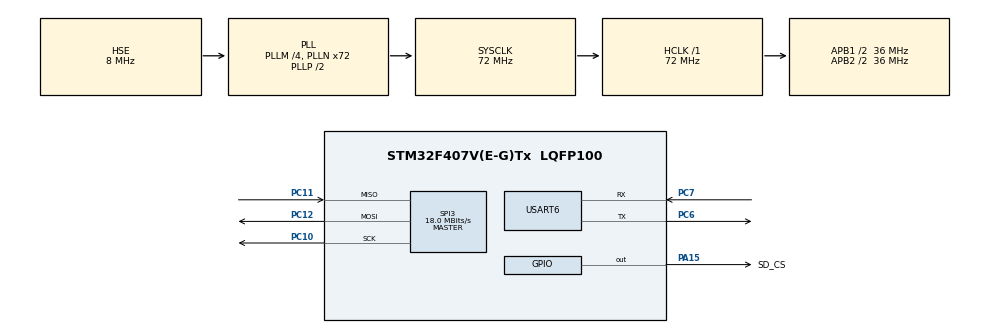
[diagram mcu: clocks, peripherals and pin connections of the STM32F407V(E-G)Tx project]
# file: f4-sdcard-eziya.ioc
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Mcu.Family=STM32F4
RCC.PLLSourceVirtual=RCC_PLLSOURCE_HSE
PH0-OSC_IN.Signal=RCC_OSC_IN
RCC.CortexFreq_Value=72000000
SPI3.Direction=SPI_DIRECTION_2LINES
SPI3.VirtualType=VM_MASTER
FATFS._USE_LFN=1
PC12.Signal=SPI3_MOSI
PC11.Signal=SPI3_MISO
PC10.Signal=SPI3_SCK
PC6.Signal=USART6_TX
PC10.Mode=Full_Duplex_Master
RCC.APB1CLKDivider=RCC_HCLK_DIV2
RCC.SYSCLKSource=RCC_SYSCLKSOURCE_PLLCLK
ProjectManager.StackSize=0x400
PA13.Signal=SYS_JTMS-SWDIO
PA15.GPIO_Label=SD_CS
ProjectManager.TargetToolchain=STM32CubeIDE
PC6.Mode=Asynchronous
RCC.HCLKFreq_Value=72000000
RCC.APB2TimFreq_Value=72000000
PC7.Signal=USART6_RX
RCC.LSE_VALUE=32768
RCC.AHBFreq_Value=72000000
PH0-OSC_IN.Mode=HSE-External-Oscillator
VP_FATFS_VS_Generic.Mode=User_defined
RCC.HSE_VALUE=8000000
PC12.Mode=Full_Duplex_Master
PB3.Mode=Trace_Asynchronous_SW
board=custom
RCC.VCOOutputFreq_Value=144000000
RCC.APB2Freq_Value=36000000
SPI3.CalculateBaudRate=18.0 MBits/s
PA14.Mode=Trace_Asynchronous_SW
SPI3.BaudRatePrescaler=SPI_BAUDRATEPRESCALER_2
PH1-OSC_OUT.Signal=RCC_OSC_OUT
PA13.Mode=Trace_Asynchronous_SW
Mcu.Name=STM32F407V(E-G)Tx
FATFS._MAX_SS=4096
PH1-OSC_OUT.Mode=HSE-External-Oscillator
RCC.48MHZClocksFreq_Value=36000000
PB3.Signal=SYS_JTDO-SWO
RCC.SYSCLKFreq_VALUE=72000000
Mcu.Package=LQFP100
SPI3.Mode=SPI_MODE_MASTER
USART6.VirtualMode=VM_ASYNC
PA14.Signal=SYS_JTCK-SWCLK
PA15.Signal=GPIO_Output
ProjectManager.HeapSize=0x200
PC11.Mode=Full_Duplex_Master
RCC.HSI_VALUE=16000000
NVIC.PriorityGroup=NVIC_PRIORITYGROUP_4
RCC.APB2CLKDivider=RCC_HCLK_DIV2
RCC.PLLM=4
RCC.PLLN=72
RCC.APB1TimFreq_Value=72000000
PC7.Mode=Asynchronous
RCC.APB1Freq_Value=36000000

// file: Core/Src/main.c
/* USER CODE BEGIN Header */
/**
 ******************************************************************************
 * @file           : main.c
 * @brief          : Main program body
 ******************************************************************************
 * @attention
 *
 * <h2><center>&copy; Copyright (c) 2021 STMicroelectronics.
 * All rights reserved.</center></h2>
 *
 * This software component is licensed by ST under Ultimate Liberty license
 * SLA0044, the "License"; You may not use this file except in compliance with
 * the License. You may obtain a copy of the License at:
 *                             www.st.com/SLA0044
 *
 ******************************************************************************
 */
/* USER CODE END Header */
#include "main.h"
#include "fatfs.h"
#include "spi.h"
#include "usart.h"
#include "gpio.h"

/* USER CODE BEGIN Includes */
#include <stdio.h>
#include <string.h>
#include "redirect-printf.h"
#include "fatfs_utils.h"
/* USER CODE END Includes */

/* USER CODE BEGIN PV */
FATFS FatFs;	//FatFs handle
FIL fil;		//File handle
FRESULT fres;	//Result after operation
/* USER CODE END PV */

void SystemClock_Config(void);

int main(void) {

	/* MCU Configuration--------------------------------------------------------*/

	/* Reset of all peripherals, Initializes the Flash interface and the Systick. */
	HAL_Init();

	/* Configure the system clock */
	SystemClock_Config();

	/* Initialize all configured peripherals */
	MX_GPIO_Init();
	MX_USART6_UART_Init();
	MX_FATFS_Init();
	MX_SPI3_Init();
	/* USER CODE BEGIN 2 */
	printf("SD Card connection test!\n");
	HAL_Delay(1000);

	fres = f_mount(&FatFs, "", 1);
	if (fres != FR_OK) {
		printf("ERROR %d\n", fres);
		printf("Failed to mount SD card!\n");
	} else
		printf("SD card is mounted successfully!\n");
#if 0
	//Let's get some statistics from the SD card
	SD_stats();

	// Write something
	SD_write("write.txt",
			"Hello, world!\r\nHello, world!\r\nHello, world!\r\nHello, world!\r\nHello, world!\r\nHello, world!\r\nHello, world!\r\nHello, world!\r\nHello, world!\r\nHello, world!\r\n");
	// SD_write("1/write.txt", "1/write.txt\nHello, world!\n");

	SD_list("/");
	SD_list("/1");
	SD_list("/2");
	SD_list("/2/22");
	SD_list("/3");
	SD_list("/3/33");
	SD_list("write.txt");
	SD_list("2MYs.wav");
#endif

	SD_read("write.txt");
//	SD_read("1/write.txt");
//	SD_read("2MYs.wav");
	/*
	 SD_read("/1/2MYs.wav");
	 SD_read("/2/22");
	 SD_read("/3/33");
	 */

	// Unmount disk after all
	f_mount(NULL, "", 0);
	/* USER CODE END 2 */

	/* Infinite loop */
	while (1) {

	}
}

void SystemClock_Config(void) {
	RCC_OscInitTypeDef RCC_OscInitStruct = { 0 };
	RCC_ClkInitTypeDef RCC_ClkInitStruct = { 0 };

	/** Configure the main internal regulator output voltage
	 */
	__HAL_RCC_PWR_CLK_ENABLE();
	__HAL_PWR_VOLTAGESCALING_CONFIG(PWR_REGULATOR_VOLTAGE_SCALE1);
	/** Initializes the RCC Oscillators according to the specified parameters
	 * in the RCC_OscInitTypeDef structure.
	 */
	RCC_OscInitStruct.OscillatorType = RCC_OSCILLATORTYPE_HSE;
	RCC_OscInitStruct.HSEState = RCC_HSE_ON;
	RCC_OscInitStruct.PLL.PLLState = RCC_PLL_ON;
	RCC_OscInitStruct.PLL.PLLSource = RCC_PLLSOURCE_HSE;
	RCC_OscInitStruct.PLL.PLLM = 4;
	RCC_OscInitStruct.PLL.PLLN = 72;
	RCC_OscInitStruct.PLL.PLLP = RCC_PLLP_DIV2;
	RCC_OscInitStruct.PLL.PLLQ = 4;
	if (HAL_RCC_OscConfig(&RCC_OscInitStruct) != HAL_OK) {
		Error_Handler();
	}
	/** Initializes the CPU, AHB and APB buses clocks
	 */
	RCC_ClkInitStruct.ClockType = RCC_CLOCKTYPE_HCLK | RCC_CLOCKTYPE_SYSCLK
			| RCC_CLOCKTYPE_PCLK1 | RCC_CLOCKTYPE_PCLK2;
	RCC_ClkInitStruct.SYSCLKSource = RCC_SYSCLKSOURCE_PLLCLK;
	RCC_ClkInitStruct.AHBCLKDivider = RCC_SYSCLK_DIV1;
	RCC_ClkInitStruct.APB1CLKDivider = RCC_HCLK_DIV2;
	RCC_ClkInitStruct.APB2CLKDivider = RCC_HCLK_DIV2;

	if (HAL_RCC_ClockConfig(&RCC_ClkInitStruct, FLASH_LATENCY_2) != HAL_OK) {
		Error_Handler();
	}
}

void Error_Handler(void) {
	__disable_irq();
	while (1) {
	}
}

/************************ (C) COPYRIGHT STMicroelectronics *****END OF FILE****/
